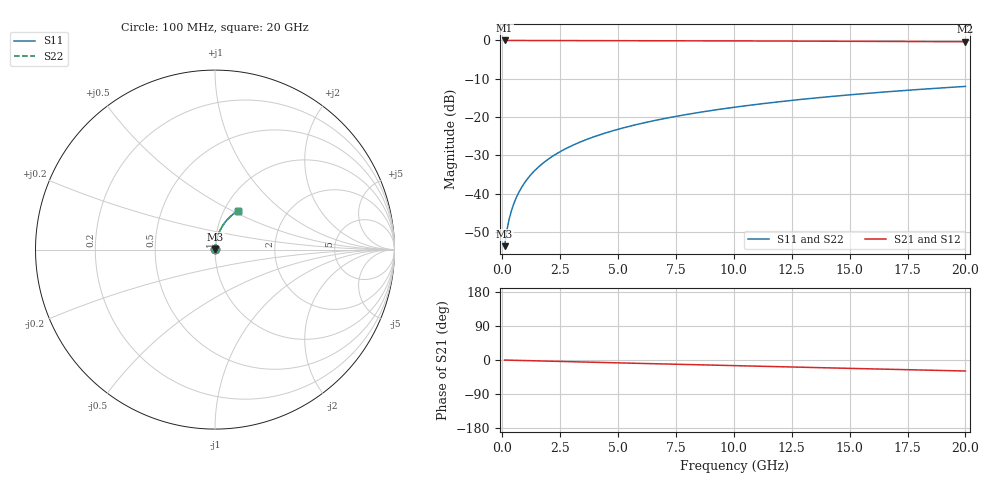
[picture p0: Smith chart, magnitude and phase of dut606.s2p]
! Touchstone file exported from HFSS 2026.1.0
!  File:  C:/ffzhzh/LocalFiles/Ansys_Project_Files/temp_train_TMRDL_606_1783008718_46388.aedt
!  Generated:  12:13:26 AM Jul  3, 2026
!  Design:  TMRDL
!  Project:  temp_train_TMRDL_606_1783008718_46388
! Variables:
!  h_bsmrdl = 2um
!  h_ox = 20um
!  h_rdl = 5um
!  h_sub = 80um
!  h_tmrdl = 4.94um
!  h_tsv = 80um
!  h_via = 3um
!  l_bsmrdl = 300um
!  l_sub = 818.25um
!  l_tmrdl = 418.25um
!  m_sub = 200um
!  pitch = 50.77um
!  r_tsv = 6um
!  s_tmrdl = 10um
!  w_bsmrdl = 18um
!  w_sub = 500um
!  w_tmrdl = 25.77um
!  x_tsv_center1 = 431.135um
!  x_tsv_center2 = 749.135um
!  x_tsv_center3 = 1193.155um
!  x_tsv_center4 = 1511.155um
!  x_tsv_center5 = 1955.175um
!  x_tsv_center6 = 2273.175um
# GHz S MA R 50.000000
! Terminal data exported
! Port[1] = TM_RDL1_1_T1
! Port[2] = TM_RDL1_1_T2
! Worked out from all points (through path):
!   200 points, 100 MHz to 20 GHz, reference 50 ohm
!   highest |S21| = -0.01 dB at 100 MHz (marker M1); lowest = -0.3 dB at 20 GHz (marker M2)
!   group delay of S21, straight-line fit = 4.03 ps
!   lowest |S11| = -53.7 dB at 100 MHz (marker M3), VSWR 1.00, Z = 50.1 + j0.157 ohm
!   |S11| at or under -10 dB: start of sweep to end of sweep
!   |S22| runs from -53.7 to -12.0 dB; largest |S21 - S12| = 2e-15
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0.1  0.002071 49.0  0.9986 -0.2  0.9986 -0.2  0.002071 49.0
! Gamma 0 0 0 0
! Port Impedance 50 0 50 0
0.2  0.003369 64.0  0.9985 -0.3  0.9985 -0.3  0.003369 64.0
0.3  0.004712 70.5  0.9985 -0.5  0.9985 -0.5  0.004712 70.5
0.4  0.006071 74.2  0.9984 -0.6  0.9984 -0.6  0.006071 74.2
0.5  0.007446 76.6  0.9983 -0.8  0.9983 -0.8  0.007446 76.6
0.7  0.01023 79.4  0.9983 -1.1  0.9983 -1.1  0.01023 79.4
0.8  0.01162 80.3  0.9982 -1.2  0.9982 -1.2  0.01162 80.3
1  0.01443 81.4  0.9981 -1.5  0.9981 -1.5  0.01443 81.4
1.2  0.01724 82.0  0.998 -1.8  0.998 -1.8  0.01724 82.0
1.4  0.02005 82.4  0.9979 -2.1  0.9979 -2.1  0.02005 82.4
1.7  0.02426 82.6  0.9977 -2.6  0.9977 -2.6  0.02426 82.6
2  0.02845 82.6  0.9974 -3.1  0.9974 -3.1  0.02845 82.6
2.7  0.03816 82.1  0.9968 -4.1  0.9968 -4.1  0.03816 82.1
3.5  0.04912 81.3  0.9959 -5.3  0.9959 -5.3  0.04912 81.3
4.2  0.05859 80.5  0.995 -6.4  0.995 -6.4  0.05859 80.5
5  0.06931 79.4  0.994 -7.6  0.994 -7.6  0.06931 79.5
6.8  0.09304 77.1  0.9913 -10.2  0.9913 -10.2  0.09304 77.1
8.3  0.1125 75.1  0.9888 -12.4  0.9888 -12.4  0.1125 75.1
10.1  0.1353 72.7  0.9854 -15.0  0.9854 -15.0  0.1353 72.7
13.4  0.176 68.2  0.9783 -19.8  0.9783 -19.8  0.176 68.2
16.7  0.2147 63.7  0.9699 -24.5  0.9699 -24.5  0.2147 63.7
20  0.2512 59.3  0.9607 -29.1  0.9607 -29.1  0.2512 59.3
